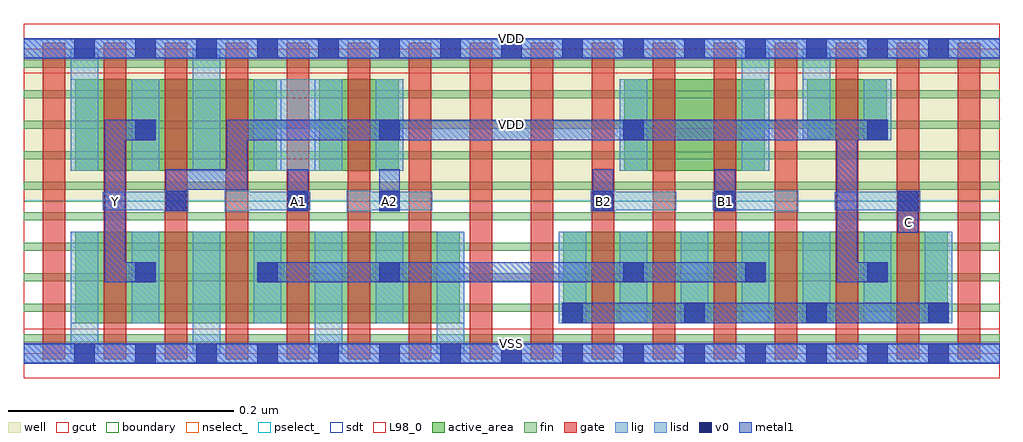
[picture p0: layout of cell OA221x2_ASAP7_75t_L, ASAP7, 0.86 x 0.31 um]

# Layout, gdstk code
import gdstk
lib = gdstk.Library(unit=1e-6, precision=2.5e-10)
def R(c, l, rs):  # rectangles x0, y0, x1, y1
    for r in rs: c.add(gdstk.rectangle(r[:2], r[2:], *l))
def A(c, l, x, y, w, h, nx, ny, dx, dy):  # array of equal rectangles
    R(c, l, [(x+i*dx, y+j*dy, x+i*dx+w, y+j*dy+h) for i in range(nx) for j in range(ny)])
def P(c, l, *ps):  # polygons
    for p in ps: c.add(gdstk.Polygon(p, *l))
well = (1, 0)
fin = (2, 0)
gate = (7, 0)
gcut = (10, 0)
active_area = (11, 0)
nselect_ = (12, 0)
pselect_ = (13, 0)
lig = (16, 0)
lisd = (17, 0)
v0 = (18, 0)
metal1 = (19, 0)
sdt = (88, 0)
L98_0 = (98, 0)
boundary = (100, 0)

oa221x2_asap7_75t_l = lib.new_cell('OA221x2_ASAP7_75t_L')
R(oa221x2_asap7_75t_l, well, [(0,0.135,0.864,0.27)])
A(oa221x2_asap7_75t_l, fin, 0, 0.01, 0.864, 0.007, 1, 10, 0, 0.027)
A(oa221x2_asap7_75t_l, gate, 0.017, -0.005, 0.02, 0.28, 16, 1, 0.054, 0)
R(oa221x2_asap7_75t_l, gcut, [(0,-0.022,0.864,0.022), (0,0.248,0.864,0.292)])
R(oa221x2_asap7_75t_l, active_area, [(0.046,0.027,0.386,0.108), (0.478,0.027,0.818,0.108), (0.046,0.162,0.224,0.243), (0.262,0.162,0.332,0.243), (0.532,0.162,0.656,0.243), (0.694,0.189,0.764,0.243)])
R(oa221x2_asap7_75t_l, nselect_, [(0,0,0.864,0.135)])
R(oa221x2_asap7_75t_l, pselect_, [(0,0.135,0.864,0.27)])
A(oa221x2_asap7_75t_l, lig, 0.07, 0.127, 0.076, 0.016, 3, 1, 0.108, 0)
A(oa221x2_asap7_75t_l, lig, 0.502, 0.127, 0.076, 0.016, 3, 1, 0.108, 0)
R(oa221x2_asap7_75t_l, lig, [(0,-0.008,0.864,0.008), (0.124,0.126,0.146,0.144), (0.178,0.126,0.2,0.144), (0.286,0.126,0.308,0.144), (0.502,0.126,0.524,0.144), (0.664,0.126,0.686,0.144), (0.772,0.126,0.794,0.144), (0,0.262,0.864,0.278)])
A(oa221x2_asap7_75t_l, lisd, 0.096, 0.027, 0.024, 0.081, 3, 1, 0.108, 0)
A(oa221x2_asap7_75t_l, lisd, 0.474, 0.027, 0.024, 0.081, 7, 1, 0.054, 0)
A(oa221x2_asap7_75t_l, lisd, 0.096, 0.162, 0.024, 0.081, 3, 1, 0.216, 0)
R(oa221x2_asap7_75t_l, lisd, [(0.042,0,0.066,0.108), (0.042,0,0.066,0.108), (0.15,0,0.174,0.108), (0.15,0,0.174,0.108), (0.258,0,0.282,0.108), (0.258,0,0.282,0.108), (0.366,0,0.39,0.108), (0.366,0,0.39,0.108), (0.042,0.162,0.066,0.27), (0.042,0.162,0.066,0.27), (0.15,0.162,0.174,0.27), (0.15,0.162,0.174,0.27), (0.204,0.162,0.282,0.243), (0.636,0.162,0.66,0.27), (0.636,0.162,0.66,0.27), (0.69,0.189,0.714,0.27), (0.69,0.189,0.714,0.27), (0.744,0.189,0.768,0.243)])
A(oa221x2_asap7_75t_l, v0, 0.045, -0.009, 0.018, 0.018, 15, 2, 0.054, 0.27)
A(oa221x2_asap7_75t_l, v0, 0.477, 0.027, 0.018, 0.018, 4, 1, 0.108, 0)
A(oa221x2_asap7_75t_l, v0, 0.099, 0.063, 0.018, 0.018, 3, 1, 0.108, 0)
A(oa221x2_asap7_75t_l, v0, 0.531, 0.063, 0.018, 0.018, 3, 1, 0.108, 0)
A(oa221x2_asap7_75t_l, v0, 0.099, 0.189, 0.018, 0.018, 4, 1, 0.216, 0)
R(oa221x2_asap7_75t_l, v0, [(0.126,0.126,0.144,0.144), (0.234,0.126,0.252,0.144), (0.315,0.126,0.333,0.144), (0.504,0.126,0.522,0.144), (0.612,0.126,0.63,0.144), (0.774,0.126,0.792,0.144)])
A(oa221x2_asap7_75t_l, metal1, 0.477, 0.027, 0.018, 0.018, 4, 1, 0.108, 0)
A(oa221x2_asap7_75t_l, metal1, 0.099, 0.063, 0.018, 0.018, 3, 1, 0.108, 0)
A(oa221x2_asap7_75t_l, metal1, 0.531, 0.063, 0.018, 0.018, 3, 1, 0.108, 0)
A(oa221x2_asap7_75t_l, metal1, 0.099, 0.189, 0.018, 0.018, 4, 1, 0.216, 0)
R(oa221x2_asap7_75t_l, metal1, [(0,-0.009,0.864,0.009), (0.477,0.027,0.819,0.045), (0.207,0.063,0.657,0.081), (0.774,0.107,0.792,0.144), (0.126,0.126,0.144,0.144), (0.234,0.126,0.252,0.144), (0.234,0.126,0.252,0.163), (0.315,0.126,0.333,0.144), (0.315,0.126,0.333,0.163), (0.504,0.126,0.522,0.144), (0.504,0.126,0.522,0.163), (0.612,0.126,0.63,0.144), (0.612,0.126,0.63,0.163), (0.774,0.126,0.792,0.144), (0,0.261,0.864,0.279)])
P(oa221x2_asap7_75t_l, metal1, [(0.72,0.063),(0.72,0.189),(0.198,0.189),(0.198,0.145),(0.144,0.145),(0.144,0.126),(0.126,0.126),(0.126,0.163),(0.18,0.163),(0.18,0.207),(0.765,0.207),(0.765,0.189),(0.738,0.189),(0.738,0.081),(0.765,0.081),(0.765,0.063)],
  [(0.072,0.063),(0.072,0.207),(0.117,0.207),(0.117,0.189),(0.09,0.189),(0.09,0.081),(0.117,0.081),(0.117,0.063)])
A(oa221x2_asap7_75t_l, sdt, 0.042, 0.027, 0.024, 0.081, 3, 2, 0.054, 0.135)
A(oa221x2_asap7_75t_l, sdt, 0.15, 0.027, 0.024, 0.081, 3, 1, 0.054, 0)
A(oa221x2_asap7_75t_l, sdt, 0.258, 0.027, 0.024, 0.081, 3, 1, 0.054, 0)
A(oa221x2_asap7_75t_l, sdt, 0.474, 0.027, 0.024, 0.081, 7, 1, 0.054, 0)
A(oa221x2_asap7_75t_l, sdt, 0.15, 0.162, 0.024, 0.081, 4, 1, 0.054, 0)
R(oa221x2_asap7_75t_l, sdt, [(0.042,0.027,0.066,0.108), (0.366,0.027,0.39,0.108), (0.042,0.162,0.066,0.243), (0.528,0.162,0.552,0.243), (0.636,0.162,0.66,0.243), (0.636,0.162,0.66,0.243), (0.69,0.189,0.714,0.243), (0.69,0.189,0.714,0.243), (0.744,0.189,0.768,0.243)])
R(oa221x2_asap7_75t_l, L98_0, [(0,0,0.864,0.27)])
R(oa221x2_asap7_75t_l, boundary, [(0,0,0.864,0.27)])
oa221x2_asap7_75t_l.add(gdstk.Label('VDD', (0.432,0.2025), layer=1, texttype=251))
oa221x2_asap7_75t_l.add(gdstk.Label('VSS', (0.432,-0.0675), layer=3, texttype=251))
oa221x2_asap7_75t_l.add(gdstk.Label('VSS', (0.432,0.009), layer=19, texttype=251))
oa221x2_asap7_75t_l.add(gdstk.Label('VDD', (0.432,0.279), layer=19, texttype=251))
oa221x2_asap7_75t_l.add(gdstk.Label('Y', (0.081,0.135), layer=19, texttype=251))
oa221x2_asap7_75t_l.add(gdstk.Label('A1', (0.243,0.135), layer=19, texttype=251))
oa221x2_asap7_75t_l.add(gdstk.Label('A2', (0.324,0.135), layer=19, texttype=251))
oa221x2_asap7_75t_l.add(gdstk.Label('B2', (0.513,0.135), layer=19, texttype=251))
oa221x2_asap7_75t_l.add(gdstk.Label('B1', (0.621,0.135), layer=19, texttype=251))
oa221x2_asap7_75t_l.add(gdstk.Label('C', (0.783,0.116), layer=19, texttype=251))

lib.write_gds('OA221x2_ASAP7_75t_L.gds')
